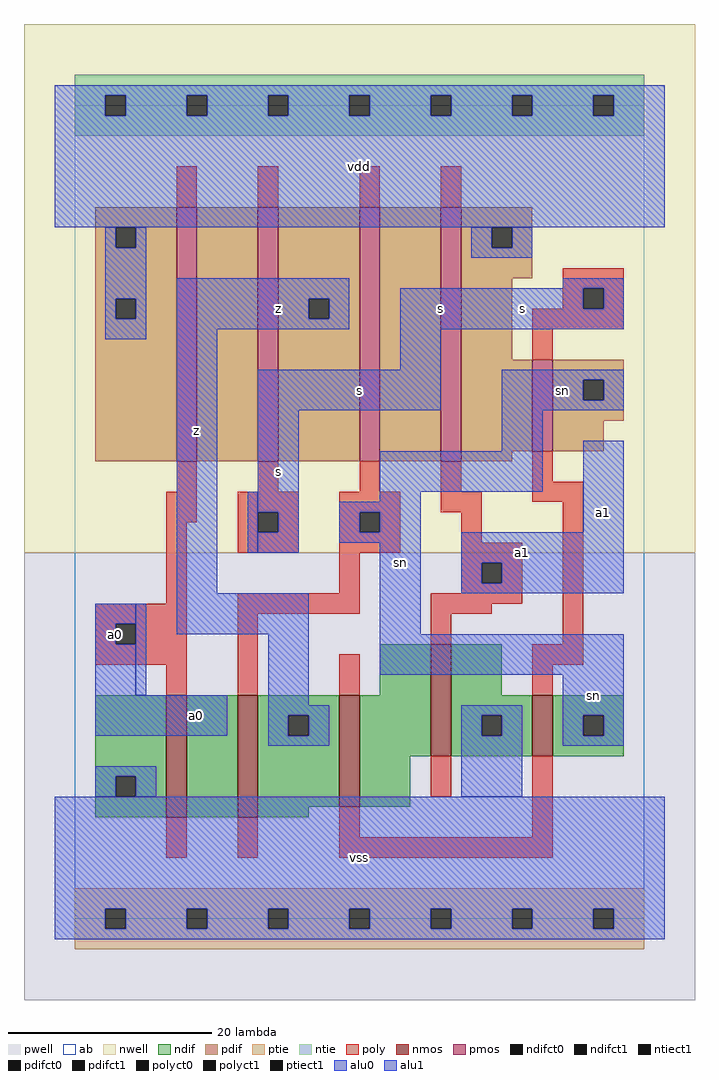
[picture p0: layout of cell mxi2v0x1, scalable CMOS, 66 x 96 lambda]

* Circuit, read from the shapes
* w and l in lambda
.subckt mxi2v0x1 a0 a1 s sn vdd vss z
M1 n1 a0 vss vss nfet w=12 l=2
M2 z sn n1 vss nfet w=12 l=2
M3 n2 s z vss nfet w=11 l=2
M4 vss a1 n2 vss nfet w=11 l=2
M5 sn s vss vss nfet w=6 l=2
M6 n3 a0 vdd vdd pfet w=25 l=2
M7 z s n3 vdd pfet w=25 l=2
M8 n4 sn z vdd pfet w=25 l=2
M9 vdd a1 n4 vdd pfet w=25 l=2
M10 sn s vdd vdd pfet w=9 l=2
.ends

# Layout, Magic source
magic
tech scmos
<< ab >>
rect 0 0 56 80
<< nwell >>
rect -5 36 61 88
<< pwell >>
rect -5 -8 61 36
<< poly >>
rect 10 70 12 74
rect 18 70 20 74
rect 28 70 30 74
rect 36 70 38 74
rect 48 62 54 64
rect 48 60 50 62
rect 52 60 54 62
rect 45 58 54 60
rect 45 55 47 58
rect 10 42 12 45
rect 18 42 20 45
rect 28 42 30 45
rect 36 42 38 45
rect 45 43 47 46
rect 9 39 12 42
rect 16 40 22 42
rect 9 31 11 39
rect 16 38 18 40
rect 20 38 22 40
rect 16 36 22 38
rect 26 40 32 42
rect 36 40 40 42
rect 45 41 50 43
rect 26 38 28 40
rect 30 38 32 40
rect 26 36 32 38
rect 38 37 40 40
rect 26 32 28 36
rect 38 35 44 37
rect 38 33 40 35
rect 42 33 44 35
rect 38 32 44 33
rect 2 29 11 31
rect 2 27 4 29
rect 6 27 11 29
rect 2 25 11 27
rect 9 22 11 25
rect 16 30 28 32
rect 35 31 44 32
rect 35 30 41 31
rect 16 22 18 30
rect 35 27 37 30
rect 48 27 50 41
rect 26 22 28 26
rect 45 25 50 27
rect 45 22 47 25
rect 35 12 37 16
rect 9 6 11 10
rect 16 6 18 10
rect 26 8 28 11
rect 45 8 47 16
rect 26 6 47 8
<< ndif >>
rect 30 22 35 27
rect 2 14 9 22
rect 2 12 4 14
rect 6 12 9 14
rect 2 10 9 12
rect 11 10 16 22
rect 18 20 26 22
rect 18 18 21 20
rect 23 18 26 20
rect 18 11 26 18
rect 28 16 35 22
rect 37 22 42 27
rect 37 20 45 22
rect 37 18 40 20
rect 42 18 45 20
rect 37 16 45 18
rect 47 20 54 22
rect 47 18 50 20
rect 52 18 54 20
rect 47 16 54 18
rect 28 11 33 16
rect 18 10 23 11
<< pdif >>
rect 2 68 10 70
rect 2 66 4 68
rect 6 66 10 68
rect 2 61 10 66
rect 2 59 4 61
rect 6 59 10 61
rect 2 45 10 59
rect 12 45 18 70
rect 20 61 28 70
rect 20 59 23 61
rect 25 59 28 61
rect 20 45 28 59
rect 30 45 36 70
rect 38 68 45 70
rect 38 66 41 68
rect 43 66 45 68
rect 38 63 45 66
rect 38 55 43 63
rect 38 46 45 55
rect 47 53 54 55
rect 47 51 50 53
rect 52 51 54 53
rect 47 49 54 51
rect 47 46 52 49
rect 38 45 43 46
<< alu1 >>
rect -2 81 58 82
rect -2 79 3 81
rect 5 79 11 81
rect 13 79 19 81
rect 21 79 27 81
rect 29 79 35 81
rect 37 79 43 81
rect 45 79 51 81
rect 53 79 58 81
rect -2 68 58 79
rect 10 61 27 63
rect 48 62 54 63
rect 10 59 23 61
rect 25 59 27 61
rect 10 58 27 59
rect 32 60 50 62
rect 52 60 54 62
rect 32 58 54 60
rect 10 32 14 58
rect 32 54 36 58
rect 18 50 36 54
rect 18 40 22 50
rect 20 38 22 40
rect 18 36 22 38
rect 50 38 54 47
rect 2 29 6 31
rect 2 27 4 29
rect 2 22 6 27
rect 10 28 23 32
rect 2 18 15 22
rect 19 21 23 28
rect 38 35 54 38
rect 38 33 40 35
rect 42 33 54 35
rect 38 32 54 33
rect 19 20 25 21
rect 19 18 21 20
rect 23 18 25 20
rect 19 17 25 18
rect -2 1 58 12
rect -2 -1 3 1
rect 5 -1 11 1
rect 13 -1 19 1
rect 21 -1 27 1
rect 29 -1 35 1
rect 37 -1 43 1
rect 45 -1 51 1
rect 53 -1 58 1
rect -2 -2 58 -1
<< ptie >>
rect 0 1 56 3
rect 0 -1 3 1
rect 5 -1 11 1
rect 13 -1 19 1
rect 21 -1 27 1
rect 29 -1 35 1
rect 37 -1 43 1
rect 45 -1 51 1
rect 53 -1 56 1
rect 0 -3 56 -1
<< ntie >>
rect 0 81 56 83
rect 0 79 3 81
rect 5 79 11 81
rect 13 79 19 81
rect 21 79 27 81
rect 29 79 35 81
rect 37 79 43 81
rect 45 79 51 81
rect 53 79 56 81
rect 0 77 56 79
<< nmos >>
rect 9 10 11 22
rect 16 10 18 22
rect 26 11 28 22
rect 35 16 37 27
rect 45 16 47 22
<< pmos >>
rect 10 45 12 70
rect 18 45 20 70
rect 28 45 30 70
rect 36 45 38 70
rect 45 46 47 55
<< polyct0 >>
rect 28 38 30 40
<< polyct1 >>
rect 50 60 52 62
rect 18 38 20 40
rect 40 33 42 35
rect 4 27 6 29
<< ndifct0 >>
rect 4 12 6 14
rect 40 18 42 20
rect 50 18 52 20
<< ndifct1 >>
rect 21 18 23 20
<< ntiect1 >>
rect 3 79 5 81
rect 11 79 13 81
rect 19 79 21 81
rect 27 79 29 81
rect 35 79 37 81
rect 43 79 45 81
rect 51 79 53 81
<< ptiect1 >>
rect 3 -1 5 1
rect 11 -1 13 1
rect 19 -1 21 1
rect 27 -1 29 1
rect 35 -1 37 1
rect 43 -1 45 1
rect 51 -1 53 1
<< pdifct0 >>
rect 4 66 6 68
rect 4 59 6 61
rect 41 66 43 68
rect 50 51 52 53
<< pdifct1 >>
rect 23 59 25 61
<< alu0 >>
rect 3 66 4 68
rect 6 66 7 68
rect 3 61 7 66
rect 39 66 41 68
rect 43 66 45 68
rect 39 65 45 66
rect 3 59 4 61
rect 6 59 7 61
rect 3 57 7 59
rect 42 53 54 54
rect 42 51 50 53
rect 52 51 54 53
rect 42 50 54 51
rect 17 36 18 42
rect 42 46 46 50
rect 30 42 46 46
rect 30 41 34 42
rect 26 40 34 41
rect 26 38 28 40
rect 30 38 34 40
rect 26 37 34 38
rect 6 22 7 31
rect 30 28 34 37
rect 30 24 54 28
rect 38 20 44 21
rect 38 18 40 20
rect 42 18 44 20
rect 2 14 8 15
rect 2 12 4 14
rect 6 12 8 14
rect 38 12 44 18
rect 48 20 54 24
rect 48 18 50 20
rect 52 18 54 20
rect 48 17 54 18
<< labels >>
rlabel alu0 32 35 32 35 6 sn
rlabel alu0 51 22 51 22 6 sn
rlabel alu0 48 52 48 52 6 sn
rlabel alu1 4 28 4 28 6 a0
rlabel alu1 12 20 12 20 6 a0
rlabel alu1 20 44 20 44 6 s
rlabel alu1 12 48 12 48 6 z
rlabel alu1 20 60 20 60 6 z
rlabel alu1 28 6 28 6 6 vss
rlabel alu1 28 52 28 52 6 s
rlabel alu1 36 60 36 60 6 s
rlabel alu1 28 74 28 74 6 vdd
rlabel alu1 44 36 44 36 6 a1
rlabel alu1 52 40 52 40 6 a1
rlabel alu1 44 60 44 60 6 s
<< end >>
